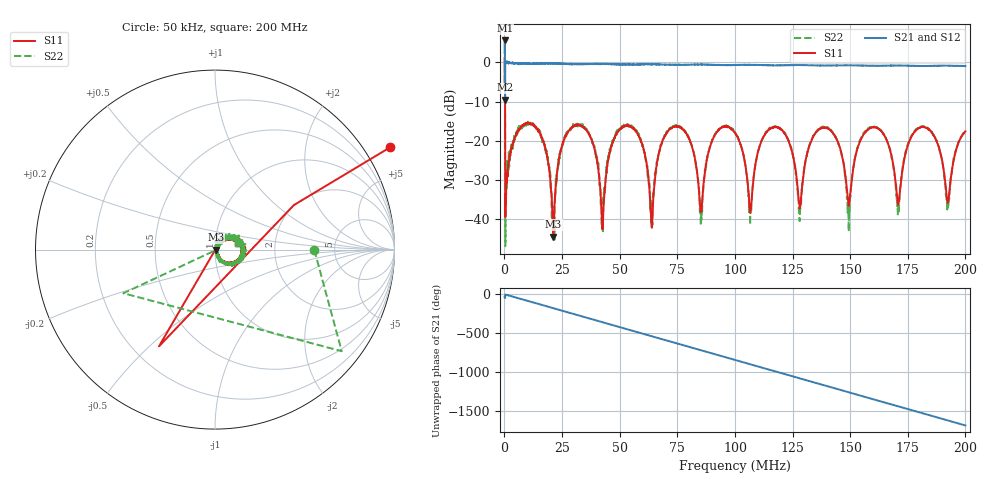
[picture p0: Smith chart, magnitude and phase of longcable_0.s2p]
! 26-Feb-26 11:10:31 AM
! E:\VNA_MEASUREMENTS\LONGCABLE\LONGCABLE_0.S2P
! CHANNEL.1
! TR.MEASUREMENT
! CORRECTED.DATA
# GHZ S RI R 50.0
! FREQ.GHZ  S11RE  S11IM  S21RE  S21IM  S12RE  S12IM  S22RE  S22IM
!; PortSelection: Port_12
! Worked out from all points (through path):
!   2000 points, 50 kHz to 200 MHz, reference 50 ohm
!   highest |S21| = 5.62 dB at 150 kHz (marker M1); lowest = -9.5 dB at 250 kHz (marker M2)
!   lowest |S11| = -44.5 dB at 21.16 MHz (marker M3), VSWR 1.01, Z = 50.6 - j0.0617 ohm
!   |S11| at or under -10 dB: 266.7 kHz to end of sweep
!   |S22| runs from -46.9 to -0.9 dB; largest |S21 - S12| = 1.6
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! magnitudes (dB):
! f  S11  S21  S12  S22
! 50 kHz  1.1  2.5  0.0  -5.1
! 150 kHz  -5.9  5.6  2.0  -0.9
! 250 kHz  -4.1  -9.5  -0.3  -5.0
! 14.55 MHz  -17.4  -0.3  -0.3  -17.2
! 21.16 MHz  -44.5  -0.2  -0.2  -44.8
! 33.46 MHz  -16.2  -0.4  -0.4  -15.8
! 42.56 MHz  -42.0  -0.4  -0.4  -40.0
! 50.46 MHz  -16.8  -0.5  -0.5  -16.6
! 63.87 MHz  -42.0  -0.5  -0.5  -35.7
! 66.77 MHz  -23.9  -0.4  -0.5  -23.1
! 77.87 MHz  -17.4  -0.6  -0.6  -17.4
! 85.27 MHz  -38.2  -0.6  -0.5  -41.7
! 100.1 MHz  -18.1  -0.6  -0.7  -17.8
! 106.6 MHz  -38.3  -0.6  -0.6  -41.5
! 114.3 MHz  -17.4  -0.7  -0.7  -17.3
! 128.1 MHz  -37.3  -0.6  -0.7  -40.5
! 133.4 MHz  -19.7  -0.7  -0.7  -19.5
! 149.3 MHz  -35.9  -0.7  -0.7  -40.8
! 166.7 MHz  -21.2  -0.8  -0.8  -21.0
! 184.2 MHz  -17.1  -0.9  -0.9  -17.1
! 192.4 MHz  -35.6  -0.8  -0.8  -37.2
! 200 MHz  -17.6  -0.9  -0.9  -17.5
